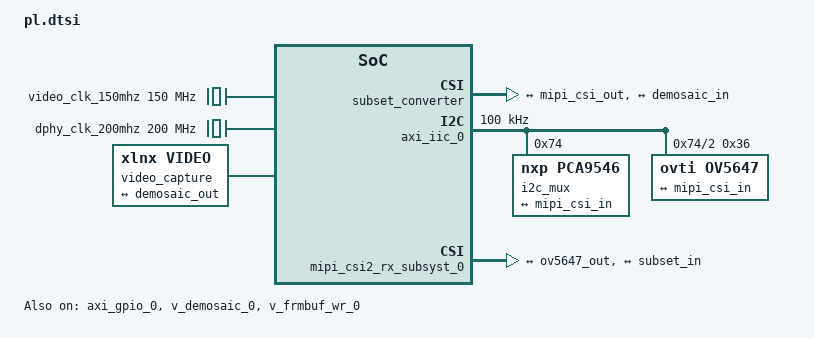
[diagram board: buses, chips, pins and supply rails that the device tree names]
/*
 * KV260 OV5647 V4L2 capture pipeline using Video Frame Buffer Write
 *
 * Hardware topology:
 *
 *   OV5647
 *      |
 *      | RAW10
 *      v
 *   MIPI CSI-2 RX
 *      |
 *      | RAW10
 *      v
 *   AXI4-Stream Subset Converter
 *      |
 *      | RAW8
 *      v
 *   Video Demosaic
 *      |
 *      | RGB888
 *      v
 *   Video Frame Buffer Write
 *      |
 *      v
 *   DDR
 *
 *
 * I2C topology:
 *
 *   AXI IIC 0x80010000
 *       |
 *       v
 *   PCA9546 @ 0x74
 *       |
 *       | channel 2
 *       v
 *   OV5647 @ 0x36
 *
 *
 * Reset topology:
 *
 *   AXI GPIO 0x80000000
 *
 *       line 0 -> v_demosaic_0/ap_rst_n
 *       line 1 -> v_frmbuf_wr_0/ap_rst_n
 *
 *
 * Video formats:
 *
 *   OV5647 output       SBGGR10_1X10
 *   CSI RX input        SBGGR10_1X10
 *   CSI RX output       SBGGR10_1X10
 *   Subset input        SBGGR10_1X10
 *   Subset output       SBGGR8_1X8
 *   Demosaic input      SBGGR8_1X8
 *   Demosaic output     RBG888_1X24
 *   Frame Buffer        RGB888/BGR888
 */


/dts-v1/;
/plugin/;


/* ------------------------------------------------------------------------- */
/* FPGA region, physical clocks, and Xilinx V4L2 composite device            */
/* ------------------------------------------------------------------------- */

&fpga_full {

	firmware-name = "csi2_testing_wrapper.bit.bin";
	resets = <&zynqmp_reset 116>;


	/* ----------------------------------------------------------------- */
	/* FCLK0                                                             */
	/* ----------------------------------------------------------------- */

	clocking0: clocking0 {
		#clock-cells = <0>;

		assigned-clock-rates = <99999001>;
		assigned-clocks = <&zynqmp_clk 71>;

		clock-output-names = "fabric_clk";
		clocks = <&zynqmp_clk 71>;

		compatible = "xlnx,fclk";
	};


	/* ----------------------------------------------------------------- */
	/* AFI configuration                                                 */
	/* ----------------------------------------------------------------- */

	afi0: afi0 {
		compatible = "xlnx,afi-fpga";

		config-afi =
			<0 0>,
			<1 0>,
			<2 0>,
			<3 0>,
			<4 0>,
			<5 0>,
			<6 0>,
			<7 0>,
			<8 0>,
			<9 0>,
			<10 0>,
			<11 0>,
			<12 0>,
			<13 0>,
			<14 0xa00>,
			<15 0x000>;

		resets =
			<&zynqmp_reset 116>,
			<&zynqmp_reset 117>,
			<&zynqmp_reset 118>,
			<&zynqmp_reset 119>;
	};


	/* ----------------------------------------------------------------- */
	/* Physical Clocking Wizard outputs                                  */
	/*                                                                   */
	/* These describe real PL clocks. They are not derived from FCLK0    */
	/* through the Linux clock framework.                                */
	/* ----------------------------------------------------------------- */

	video_clk_150mhz: csi2-video-clock-150mhz {
		compatible = "fixed-clock";
		#clock-cells = <0>;

		clock-frequency = <150000000>;
		clock-output-names = "csi2-testing-video-150mhz";
	};


	dphy_clk_200mhz: csi2-dphy-clock-200mhz {
		compatible = "fixed-clock";
		#clock-cells = <0>;

		clock-frequency = <200000000>;
		clock-output-names = "csi2-testing-dphy-200mhz";
	};


	ov5647_xclk: ov5647-xclk {
		compatible = "fixed-clock";
		#clock-cells = <0>;

		clock-frequency = <25000000>;
		clock-output-names = "csi2-testing-ov5647-xclk";
	};


	/* ----------------------------------------------------------------- */
	/* Xilinx V4L2 composite capture device                              */
	/*                                                                   */
	/* Frame Buffer Write channel 0 is the DMA capture engine.           */
	/*                                                                   */
	/* Media graph terminates at Demosaic output.                        */
	/* ----------------------------------------------------------------- */

	video_capture: video-capture {
		compatible = "xlnx,video";

		dmas = <&v_frmbuf_wr_0 0>;
		dma-names = "port0";

		status = "okay";

		ports {
			#address-cells = <1>;
			#size-cells = <0>;

			port@0 {
				reg = <0>;
				direction = "input";

				video_capture_in: endpoint {
					remote-endpoint = <&demosaic_out>;
				};
			};
		};
	};


	/* ----------------------------------------------------------------- */
	/* AXI4-Stream Subset Converter                                      */
	/*                                                                   */
	/* Hardware conversion:                                              */
	/*                                                                   */
	/*       RAW10 -> RAW8                                               */
	/*                                                                   */
	/* The actual TDATA bit selection/remapping is configured in Vivado. */
	/* The Linux node represents that fixed hardware conversion in the   */
	/* media graph.                                                      */
	/*                                                                   */
	/* Make sure Vivado also preserves:                                  */
	/*                                                                   */
	/*       TVALID                                                      */
	/*       TREADY                                                      */
	/*       TUSER[0] (SOF)                                              */
	/*       TLAST    (EOL)                                              */
	/* ----------------------------------------------------------------- */

	subset_converter: isp_subset_convertor {
		compatible = "xlnx,axis-subsetconv-1.1";
		status = "okay";

		ports {
			#address-cells = <1>;
			#size-cells = <0>;


			/* ------------------------------------------------- */
			/* CSI RX -> Subset Converter                        */
			/* RAW10                                             */
			/* ------------------------------------------------- */

			port@0 {
				reg = <0>;

				subset_in: endpoint {
					remote-endpoint = <&mipi_csi_out>;
				};
			};


			/* ------------------------------------------------- */
			/* Subset Converter -> Demosaic                      */
			/* RAW8                                              */
			/* ------------------------------------------------- */

			port@1 {
				reg = <1>;

				subset_out: endpoint {
					remote-endpoint = <&demosaic_in>;
				};
			};
		};
	};
};


/* ------------------------------------------------------------------------- */
/* Programmable-logic peripherals                                            */
/* ------------------------------------------------------------------------- */

&amba {

	#address-cells = <2>;
	#size-cells = <2>;


	/* ----------------------------------------------------------------- */
	/* AXI GPIO                                                          */
	/*                                                                   */
	/* GPIO[0] -> Demosaic reset                                         */
	/* GPIO[1] -> Frame Buffer Write reset                               */
	/* ----------------------------------------------------------------- */

	axi_gpio_0: gpio@80000000 {

		compatible =
			"xlnx,axi-gpio-2.0",
			"xlnx,xps-gpio-1.00.a";

		reg = <0x0 0x80000000 0x0 0x10000>;

		clock-names = "s_axi_aclk";
		clocks = <&zynqmp_clk 71>;

		gpio-controller;
		#gpio-cells = <2>;

		xlnx,all-inputs = <0x0>;
		xlnx,all-inputs-2 = <0x0>;

		xlnx,all-outputs = <0x1>;
		xlnx,all-outputs-2 = <0x0>;

		xlnx,dout-default = <0xffffffff>;
		xlnx,dout-default-2 = <0x00000000>;

		xlnx,gpio-width = <0x2>;
		xlnx,gpio2-width = <0x20>;

		xlnx,interrupt-present = <0x0>;
		xlnx,is-dual = <0x0>;

		xlnx,tri-default = <0xffffffff>;
		xlnx,tri-default-2 = <0xffffffff>;

		status = "okay";
	};


	/* ----------------------------------------------------------------- */
	/* AXI IIC                                                           */
	/*                                                                   */
	/* AXI IIC -> PCA9546 -> channel 2 -> OV5647                         */
	/* ----------------------------------------------------------------- */

	axi_iic_0: i2c@80010000 {

		compatible =
			"xlnx,axi-iic-2.1",
			"xlnx,xps-iic-2.00.a";

		reg = <0x0 0x80010000 0x0 0x10000>;

		clock-names = "s_axi_aclk";
		clocks = <&zynqmp_clk 71>;

		clock-frequency = <100000>;

		interrupt-names = "iic2intc_irpt";
		interrupt-parent = <&gic>;
		interrupts = <0 91 4>;

		#address-cells = <1>;
		#size-cells = <0>;

		status = "okay";


		/* --------------------------------------------------------- */
		/* PCA9546                                                  */
		/* --------------------------------------------------------- */

		i2c_mux: i2c-mux@74 {

			compatible = "nxp,pca9546";
			reg = <0x74>;

			#address-cells = <1>;
			#size-cells = <0>;

			/*
			 * Do not add i2c-mux-idle-disconnect.
			 *
			 * Keeping the channel selected has previously been
			 * required for reliable OV5647 probing on this design.
			 */


			/* ------------------------------------------------- */
			/* Raspberry Pi camera connector: mux channel 2      */
			/* ------------------------------------------------- */

			i2c_rpi: i2c@2 {

				reg = <2>;

				#address-cells = <1>;
				#size-cells = <0>;


				/* ----------------------------------------- */
				/* OV5647                                    */
				/* ----------------------------------------- */

				ov5647: camera@36 {

					compatible = "ovti,ov5647";
					reg = <0x36>;

					clocks = <&ov5647_xclk>;
					clock-names = "xclk";

					status = "okay";


					port {

						ov5647_out: endpoint {

							clock-lanes = <0>;
							data-lanes = <1 2>;

							/*
							 * No clock-noncontinuous
							 * property means continuous
							 * CSI-2 clocking.
							 */

							remote-endpoint =
								<&mipi_csi_in>;
						};
					};
				};
			};
		};
	};


	/* ----------------------------------------------------------------- */
	/* MIPI CSI-2 RX                                                     */
	/*                                                                   */
	/* OV5647 RAW10 -> CSI RX -> RAW10                                   */
	/* ----------------------------------------------------------------- */

	mipi_csi2_rx_subsyst_0:
	mipi-csi2-rx-subsystem@80020000 {

		compatible =
			"xlnx,mipi-csi2-rx-subsystem-6.0",
			"xlnx,mipi-csi2-rx-subsystem-5.0";

		reg = <0x0 0x80020000 0x0 0x1000>;


		/* --------------------------------------------------------- */
		/* Clocks                                                    */
		/* --------------------------------------------------------- */

		clock-names =
			"dphy_clk_200M",
			"lite_aclk",
			"video_aclk";

		clocks =
			<&dphy_clk_200mhz>,
			<&zynqmp_clk 71>,
			<&video_clk_150mhz>;


		/* --------------------------------------------------------- */
		/* Interrupt                                                 */
		/* --------------------------------------------------------- */

		interrupt-names = "csirxss_csi_irq";
		interrupt-parent = <&gic>;
		interrupts = <0 90 4>;


		/* --------------------------------------------------------- */
		/* CSI configuration                                         */
		/* --------------------------------------------------------- */

		xlnx,axis-tdata-width = <32>;

		/*
		 * CSI-2 data type 0x2B = RAW10.
		 */
		xlnx,csi-pxl-format = <0x2b>;

		xlnx,max-lanes = <2>;
		xlnx,ppc = <1>;
		xlnx,vc = <4>;
		xlnx,vfb;

		status = "okay";


		ports {

			#address-cells = <1>;
			#size-cells = <0>;


			/* ------------------------------------------------- */
			/* OV5647 -> CSI RX                                  */
			/*                                                   */
			/* RAW10 BGGR                                        */
			/* ------------------------------------------------- */

			port@0 {

				reg = <0>;

				xlnx,video-format = <12>;
				xlnx,video-width = <10>;
				xlnx,cfa-pattern = "bggr";

				mipi_csi_in: endpoint {

					clock-lanes = <0>;
					data-lanes = <1 2>;

					remote-endpoint =
						<&ov5647_out>;
				};
			};


			/* ------------------------------------------------- */
			/* CSI RX -> AXIS Subset Converter                   */
			/*                                                   */
			/* RAW10 BGGR                                        */
			/* ------------------------------------------------- */

			port@1 {

				reg = <1>;

				xlnx,video-format = <12>;
				xlnx,video-width = <10>;
				xlnx,cfa-pattern = "bggr";

				mipi_csi_out: endpoint {

					remote-endpoint =
						<&subset_in>;
				};
			};
		};
	};


	/* ----------------------------------------------------------------- */
	/* Video Demosaic                                                    */
	/*                                                                   */
	/* Input:  RAW8 BGGR                                                 */
	/* Output: RGB888                                                    */
	/* ----------------------------------------------------------------- */

	v_demosaic_0: v-demosaic@80030000 {

		compatible =
			"xlnx,v-demosaic-1.1",
			"xlnx,v-demosaic";

		reg = <0x0 0x80030000 0x0 0x10000>;


		/* --------------------------------------------------------- */
		/* Clock                                                     */
		/* --------------------------------------------------------- */

		clock-names = "ap_clk";
		clocks = <&video_clk_150mhz>;


		/* --------------------------------------------------------- */
		/* Interrupt                                                 */
		/* --------------------------------------------------------- */

		interrupt-names = "interrupt";
		interrupt-parent = <&gic>;
		interrupts = <0 92 4>;


		/* --------------------------------------------------------- */
		/* Reset                                                      */
		/* --------------------------------------------------------- */

		reset-gpios = <&axi_gpio_0 0 1>;


		/* --------------------------------------------------------- */
		/* Hardware limits                                           */
		/* --------------------------------------------------------- */

		xlnx,max-height = <2160>;
		xlnx,max-width = <3840>;

		xlnx,s-axi-ctrl-addr-width = <0x6>;
		xlnx,s-axi-ctrl-data-width = <0x20>;

		status = "okay";


		ports {

			#address-cells = <1>;
			#size-cells = <0>;


			/* ------------------------------------------------- */
			/* Subset Converter -> Demosaic                      */
			/*                                                   */
			/* RAW8 BGGR                                         */
			/* ------------------------------------------------- */

			port@0 {

				reg = <0>;

				xlnx,video-width = <8>;
				xlnx,cfa-pattern = "bggr";

				demosaic_in: endpoint {

					remote-endpoint =
						<&subset_out>;
				};
			};


			/* ------------------------------------------------- */
			/* Demosaic -> Video Capture                         */
			/*                                                   */
			/* RGB888                                            */
			/* ------------------------------------------------- */

			port@1 {

				reg = <1>;

				xlnx,video-width = <8>;

				demosaic_out: endpoint {

					remote-endpoint =
						<&video_capture_in>;
				};
			};
		};
	};


	/* ----------------------------------------------------------------- */
	/* Video Frame Buffer Write                                          */
	/*                                                                   */
	/* Input: RGB888                                                     */
	/* Output: DDR                                                       */
	/* ----------------------------------------------------------------- */

	v_frmbuf_wr_0: v-frmbuf-wr@80040000 {

		compatible =
			"xlnx,v-frmbuf-wr-3.0",
			"xlnx,axi-frmbuf-wr-v2.2";

		reg = <0x0 0x80040000 0x0 0x10000>;

		#dma-cells = <1>;


		/* --------------------------------------------------------- */
		/* Clock                                                     */
		/* --------------------------------------------------------- */

		clock-names = "ap_clk";
		clocks = <&video_clk_150mhz>;


		/* --------------------------------------------------------- */
		/* Interrupt                                                 */
		/* --------------------------------------------------------- */

		interrupt-names = "interrupt";
		interrupt-parent = <&gic>;
		interrupts = <0 89 4>;


		/* --------------------------------------------------------- */
		/* Reset                                                      */
		/* --------------------------------------------------------- */

		reset-gpios = <&axi_gpio_0 1 1>;


		/* --------------------------------------------------------- */
		/* DMA configuration                                         */
		/* --------------------------------------------------------- */

		xlnx,dma-addr-width = <32>;
		xlnx,dma-align = <32>;

		xlnx,max-height = <2160>;
		xlnx,max-width = <3840>;

		xlnx,pixels-per-clock = <4>;

		xlnx,s-axi-ctrl-addr-width = <0x7>;
		xlnx,s-axi-ctrl-data-width = <0x20>;


		/*
		 * These formats must correspond to formats actually enabled
		 * in the Frame Buffer Write Vivado configuration.
		 *
		 * "rgb888" allows the V4L2 BGR3 memory representation used
		 * by the existing capture pipeline.
		 */
		xlnx,vid-formats =
			"rgb888",
			"bgr888";

		xlnx,video-width = <8>;

		status = "okay";
	};
};
